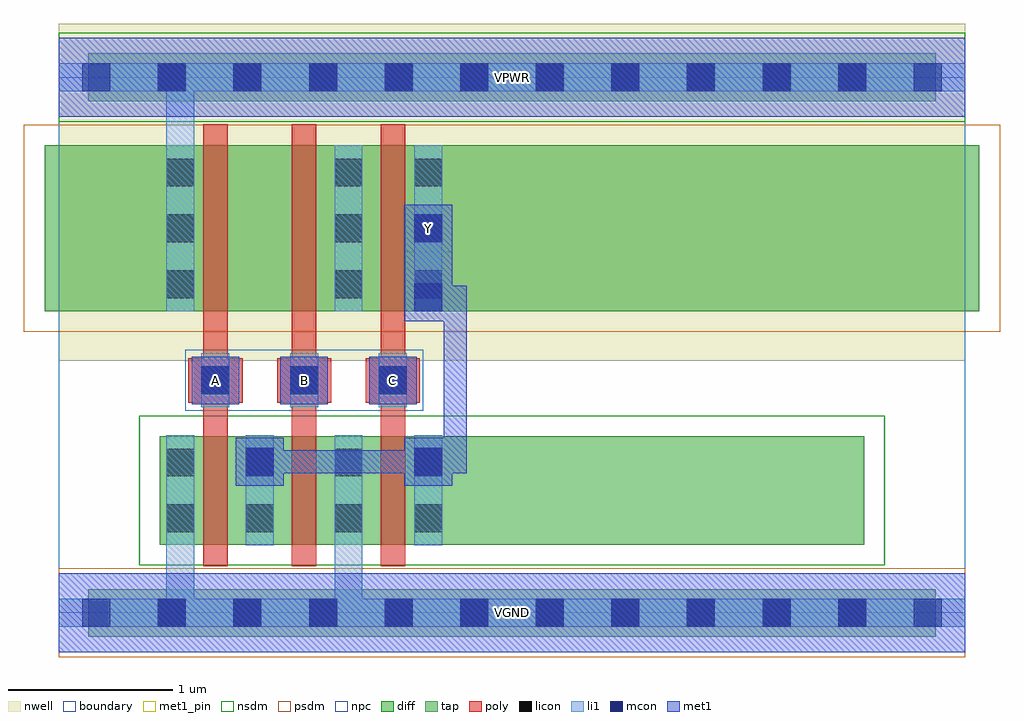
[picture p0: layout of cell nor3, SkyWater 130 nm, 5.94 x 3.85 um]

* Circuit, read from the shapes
.subckt nor3 A B C VGND VPWR Y
XM1 Y A VGND VGND sky130_fd_pr__nfet_01v8 w=0.66 l=0.15
XM2 VGND B Y VGND sky130_fd_pr__nfet_01v8 w=0.66 l=0.15
XM3 Y C VGND VGND sky130_fd_pr__nfet_01v8 w=0.66 l=0.15
XM4 n1 A VPWR VPWR sky130_fd_pr__pfet_01v8 w=1.01 l=0.15
XM5 n2 B n1 VPWR sky130_fd_pr__pfet_01v8 w=1.01 l=0.15
XM6 Y C n2 VPWR sky130_fd_pr__pfet_01v8 w=1.01 l=0.15
.ends

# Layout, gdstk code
import gdstk
lib = gdstk.Library(unit=1e-6, precision=1e-09)
def R(c, l, rs):  # rectangles x0, y0, x1, y1
    for r in rs: c.add(gdstk.rectangle(r[:2], r[2:], *l))
def A(c, l, x, y, w, h, nx, ny, dx, dy):  # array of equal rectangles
    R(c, l, [(x+i*dx, y+j*dy, x+i*dx+w, y+j*dy+h) for i in range(nx) for j in range(ny)])
nwell = (64, 20)
diff = (65, 20)
tap = (65, 44)
poly = (66, 20)
licon = (66, 44)
li1 = (67, 20)
mcon = (67, 44)
met1_pin = (68, 16)
met1 = (68, 20)
nsdm = (93, 44)
psdm = (94, 20)
npc = (95, 20)
boundary = (235, 4)

nor3 = lib.new_cell('nor3')
R(nor3, nwell, [(0,1.535,5.52,3.585)])
R(nor3, diff, [(0.615,0.415,4.905,1.075), (-0.085,1.835,5.605,2.845)])
R(nor3, tap, [(0.18,-0.145,5.34,0.145), (0.18,3.115,5.34,3.405)])
A(nor3, poly, 0.88, 0.285, 0.15, 2.69, 3, 1, 0.54, 0)
A(nor3, poly, 0.79, 1.28, 0.33, 0.27, 3, 1, 0.54, 0)
A(nor3, licon, 0.605, -0.085, 0.17, 0.17, 10, 2, 0.46, 3.26)
A(nor3, licon, 0.87, 1.33, 0.17, 0.17, 3, 1, 0.54, 0)
A(nor3, licon, 0.655, 1.915, 0.17, 0.17, 1, 3, 0, 0.34)
A(nor3, licon, 1.68, 1.915, 0.17, 0.17, 1, 3, 0, 0.34)
A(nor3, licon, 2.165, 1.915, 0.17, 0.17, 1, 3, 0, 0.34)
R(nor3, licon, [(0.655,0.49,0.825,0.66), (1.14,0.49,1.31,0.66), (1.68,0.49,1.85,0.66), (2.165,0.49,2.335,0.66), (0.655,0.83,0.825,1), (1.14,0.83,1.31,1), (1.68,0.83,1.85,1), (2.165,0.83,2.335,1)])
A(nor3, li1, 0.87, 1.25, 0.17, 0.33, 3, 1, 0.54, 0)
R(nor3, li1, [(0,-0.085,5.52,0.085), (0.655,-0.085,0.825,1.08), (1.68,-0.085,1.85,1.08), (0.655,0.41,0.825,1.08), (1.14,0.41,1.31,1.08), (1.68,0.41,1.85,1.08), (2.165,0.41,2.335,1.08), (0.655,1.835,0.825,2.845), (0.655,1.835,0.825,3.345), (1.68,1.835,1.85,2.845), (2.165,1.835,2.335,2.845), (0,3.175,5.52,3.345)])
A(nor3, mcon, 0.145, -0.085, 0.17, 0.17, 12, 2, 0.46, 3.26)
A(nor3, mcon, 0.87, 1.33, 0.17, 0.17, 3, 1, 0.54, 0)
R(nor3, mcon, [(1.14,0.835,1.31,1.005), (2.165,0.835,2.335,1.005), (2.165,1.835,2.335,2.005), (2.165,2.255,2.335,2.425)])
A(nor3, met1_pin, 0.81, 1.27, 0.29, 0.29, 3, 1, 0.54, 0)
R(nor3, met1_pin, [(0,-0.24,5.52,0.24), (2.105,2.195,2.395,2.485), (0,3.02,5.52,3.5)])
A(nor3, met1, 0.81, 1.27, 0.29, 0.29, 3, 1, 0.54, 0)
R(nor3, met1, [(0,-0.24,5.52,0.24), (1.08,0.775,1.37,1.065), (2.105,0.775,2.395,1.065), (1.155,0.85,1.45,0.99), (1.31,0.85,2.485,0.99), (2.18,0.85,2.485,0.99), (2.345,0.85,2.485,1.795), (2.345,1.655,2.485,1.99), (2.105,1.775,2.395,2.065), (2.18,1.85,2.485,1.99), (2.105,2.065,2.395,2.195), (2.105,2.195,2.395,2.485), (0,3.02,5.52,3.5)])
R(nor3, nsdm, [(0.49,0.29,5.03,1.2), (0,2.99,5.52,3.53)])
R(nor3, psdm, [(0,-0.27,5.52,0.27), (-0.21,1.71,5.73,2.97)])
R(nor3, npc, [(0.77,1.23,2.22,1.6)])
R(nor3, boundary, [(0,0,5.52,3.26)])
nor3.add(gdstk.Label('A', (0.955,1.415), layer=68, texttype=5))
nor3.add(gdstk.Label('B', (1.495,1.415), layer=68, texttype=5))
nor3.add(gdstk.Label('C', (2.035,1.415), layer=68, texttype=5))
nor3.add(gdstk.Label('Y', (2.25,2.34), layer=68, texttype=5))
nor3.add(gdstk.Label('VPWR', (2.76,3.26), layer=68, texttype=5))
nor3.add(gdstk.Label('VGND', (2.76,0), layer=68, texttype=5))
nor3.add(gdstk.Label('A', (0.955,1.415), layer=68, texttype=16))
nor3.add(gdstk.Label('B', (1.495,1.415), layer=68, texttype=16))
nor3.add(gdstk.Label('C', (2.035,1.415), layer=68, texttype=16))
nor3.add(gdstk.Label('Y', (2.25,2.34), layer=68, texttype=16))
nor3.add(gdstk.Label('VPWR', (2.76,3.26), layer=68, texttype=16))
nor3.add(gdstk.Label('VGND', (2.76,0), layer=68, texttype=16))

lib.write_gds('nor3.gds')
